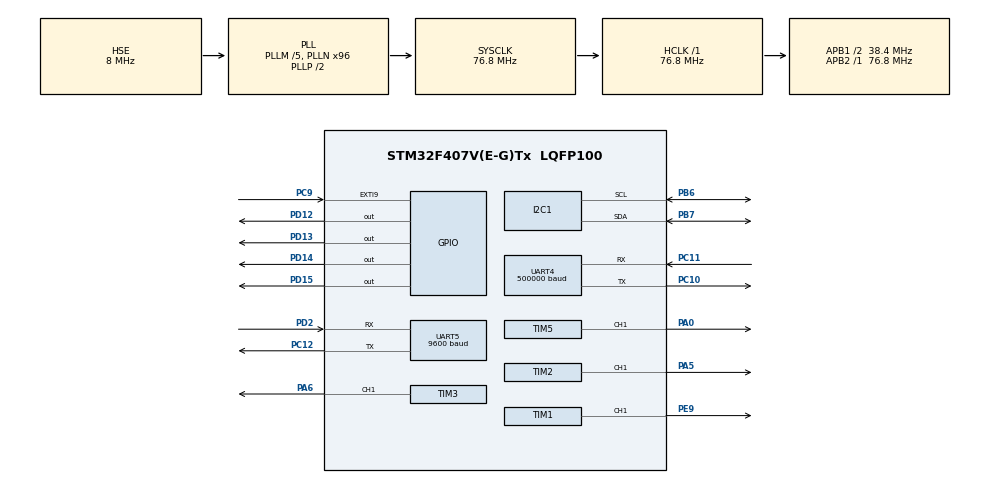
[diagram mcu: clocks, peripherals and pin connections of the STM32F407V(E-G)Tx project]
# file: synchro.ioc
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Dma.I2C1_RX.0.Direction=DMA_PERIPH_TO_MEMORY
Dma.I2C1_RX.0.FIFOMode=DMA_FIFOMODE_DISABLE
Dma.I2C1_RX.0.Instance=DMA1_Stream5
Dma.I2C1_RX.0.MemDataAlignment=DMA_MDATAALIGN_BYTE
Dma.I2C1_RX.0.MemInc=DMA_MINC_ENABLE
Dma.I2C1_RX.0.Mode=DMA_NORMAL
Dma.I2C1_RX.0.PeriphDataAlignment=DMA_PDATAALIGN_BYTE
Dma.I2C1_RX.0.PeriphInc=DMA_PINC_DISABLE
Dma.I2C1_RX.0.Priority=DMA_PRIORITY_VERY_HIGH
Dma.Request0=I2C1_RX
Dma.Request1=UART4_TX
Dma.Request2=UART5_TX
Dma.Request3=UART4_RX
Dma.UART4_RX.3.Direction=DMA_PERIPH_TO_MEMORY
Dma.UART4_RX.3.FIFOMode=DMA_FIFOMODE_DISABLE
Dma.UART4_RX.3.Instance=DMA1_Stream2
Dma.UART4_RX.3.MemDataAlignment=DMA_MDATAALIGN_BYTE
Dma.UART4_RX.3.MemInc=DMA_MINC_ENABLE
Dma.UART4_RX.3.Mode=DMA_NORMAL
Dma.UART4_RX.3.PeriphDataAlignment=DMA_PDATAALIGN_BYTE
Dma.UART4_RX.3.PeriphInc=DMA_PINC_DISABLE
Dma.UART4_RX.3.Priority=DMA_PRIORITY_LOW
Dma.UART4_TX.1.Direction=DMA_MEMORY_TO_PERIPH
Dma.UART4_TX.1.FIFOMode=DMA_FIFOMODE_DISABLE
Dma.UART4_TX.1.Instance=DMA1_Stream4
Dma.UART4_TX.1.MemDataAlignment=DMA_MDATAALIGN_BYTE
Dma.UART4_TX.1.MemInc=DMA_MINC_ENABLE
Dma.UART4_TX.1.Mode=DMA_NORMAL
Dma.UART4_TX.1.PeriphDataAlignment=DMA_PDATAALIGN_BYTE
Dma.UART4_TX.1.PeriphInc=DMA_PINC_DISABLE
Dma.UART4_TX.1.Priority=DMA_PRIORITY_LOW
Dma.UART5_TX.2.Direction=DMA_MEMORY_TO_PERIPH
Dma.UART5_TX.2.FIFOMode=DMA_FIFOMODE_DISABLE
Dma.UART5_TX.2.Instance=DMA1_Stream7
Dma.UART5_TX.2.MemDataAlignment=DMA_MDATAALIGN_BYTE
Dma.UART5_TX.2.MemInc=DMA_MINC_ENABLE
Dma.UART5_TX.2.Mode=DMA_NORMAL
Dma.UART5_TX.2.PeriphDataAlignment=DMA_PDATAALIGN_BYTE
Dma.UART5_TX.2.PeriphInc=DMA_PINC_DISABLE
Dma.UART5_TX.2.Priority=DMA_PRIORITY_LOW
I2C1.DutyCycle=I2C_DUTYCYCLE_16_9
I2C1.I2C_Mode=I2C_Fast
Mcu.Family=STM32F4
Mcu.Name=STM32F407V(E-G)Tx
Mcu.Package=LQFP100
NVIC.DMA1_Stream2_IRQn=true\:5\:0\:true\:false\:true\:false\:true
NVIC.DMA1_Stream4_IRQn=true\:5\:0\:true\:false\:true\:false\:true
NVIC.DMA1_Stream5_IRQn=true\:5\:0\:true\:false\:true\:false\:true
NVIC.DMA1_Stream7_IRQn=true\:5\:0\:true\:false\:true\:false\:true
NVIC.EXTI9_5_IRQn=true\:0\:0\:false\:false\:true\:true\:true
NVIC.I2C1_EV_IRQn=true\:0\:0\:true\:false\:true\:true\:true
NVIC.PriorityGroup=NVIC_PRIORITYGROUP_4
NVIC.TIM1_CC_IRQn=true\:4\:0\:true\:false\:true\:true\:true
NVIC.TIM2_IRQn=true\:4\:0\:true\:false\:true\:true\:true
NVIC.TIM3_IRQn=true\:4\:0\:true\:false\:true\:true\:true
NVIC.TIM5_IRQn=true\:0\:0\:true\:false\:true\:true\:true
NVIC.UART4_IRQn=true\:5\:0\:true\:false\:true\:true\:true
NVIC.UART5_IRQn=true\:5\:0\:true\:false\:true\:true\:true
PA0-WKUP.Signal=S_TIM5_CH1
PA5.Signal=S_TIM2_CH1_ETR
PA6.Signal=S_TIM3_CH1
PB6.Mode=I2C
PB6.Signal=I2C1_SCL
PB7.Mode=I2C
PB7.Signal=I2C1_SDA
PC10.Mode=Asynchronous
PC10.Signal=UART4_TX
PC11.Mode=Asynchronous
PC11.Signal=UART4_RX
PC12.Mode=Asynchronous
PC12.Signal=UART5_TX
PC9.Signal=GPXTI9
PD12.Signal=GPIO_Output
PD13.Signal=GPIO_Output
PD14.Signal=GPIO_Output
PD15.Signal=GPIO_Output
PD2.Mode=Asynchronous
PD2.Signal=UART5_RX
PE9.Signal=S_TIM1_CH1
PH0-OSC_IN.Mode=HSE-External-Oscillator
PH0-OSC_IN.Signal=RCC_OSC_IN
PH1-OSC_OUT.Mode=HSE-External-Oscillator
PH1-OSC_OUT.Signal=RCC_OSC_OUT
ProjectManager.HeapSize=0x200
ProjectManager.StackSize=0x400
ProjectManager.TargetToolchain=STM32CubeIDE
RCC.48MHZClocksFreq_Value=38400000
RCC.AHBFreq_Value=76800000
RCC.APB1CLKDivider=RCC_HCLK_DIV2
RCC.APB1Freq_Value=38400000
RCC.APB1TimFreq_Value=76800000
RCC.APB2Freq_Value=76800000
RCC.APB2TimFreq_Value=76800000
RCC.CortexFreq_Value=76800000
RCC.HCLKFreq_Value=76800000
RCC.HSE_VALUE=8000000
RCC.HSI_VALUE=16000000
RCC.LSE_VALUE=32768
RCC.PLLM=5
RCC.PLLN=96
RCC.PLLSourceVirtual=RCC_PLLSOURCE_HSE
RCC.RCC_MCO1Source=RCC_MCO1SOURCE_LSE
RCC.RCC_MCO2Source=RCC_MCO2SOURCE_HSE
RCC.RCC_RTC_Clock_Source=RCC_RTCCLKSOURCE_HSE_DIV25
RCC.RCC_RTC_Clock_SourceVirtual=RCC_RTCCLKSOURCE_LSE
RCC.RCC_RTC_Clock_Source_FROM_HSE=RCC_RTCCLKSOURCE_HSE_DIV25
RCC.SYSCLKFreq_VALUE=76800000
RCC.SYSCLKSource=RCC_SYSCLKSOURCE_PLLCLK
RCC.VCOOutputFreq_Value=153600000
RTC.AsynchPrediv=32-1
RTC.SynchPrediv=10000-1
SH.S_TIM1_CH1.0=TIM1_CH1,Output Compare1 CH1
SH.S_TIM2_CH1_ETR.0=TIM2_CH1,PWM Generation1 CH1
SH.S_TIM3_CH1.0=TIM3_CH1,Output Compare1 CH1
SH.S_TIM5_CH1.0=TIM5_CH1,Output Compare1 CH1
TIM1.AutoReloadPreload=TIM_AUTORELOAD_PRELOAD_DISABLE
TIM1.Channel-Output\ Compare1\ CH1=TIM_CHANNEL_1
TIM1.ClockDivision=TIM_CLOCKDIVISION_DIV1
TIM1.OCMode_1=TIM_OCMODE_TOGGLE
TIM1.Period=5000-1
TIM1.Prescaler=7680-1
TIM1.RepetitionCounter=0
TIM1.TIM_MasterOutputTrigger=TIM_TRGO_RESET
TIM1.TIM_MasterSlaveMode=TIM_MASTERSLAVEMODE_DISABLE
TIM2.AutoReloadPreload=TIM_AUTORELOAD_PRELOAD_ENABLE
TIM2.Channel-PWM\ Generation1\ CH1=TIM_CHANNEL_1
TIM2.CounterMode=TIM_COUNTERMODE_DOWN
TIM2.OCMode_PWM-PWM\ Generation1\ CH1=TIM_OCMODE_PWM1
TIM2.OCPolarity_1=TIM_OCPOLARITY_LOW
TIM2.Period=2559794-1
TIM2.Prescaler=1-1
TIM2.Pulse-PWM\ Generation1\ CH1=1280000
TIM2.TIM_MasterOutputTrigger=TIM_TRGO_RESET
TIM2.TIM_MasterSlaveMode=TIM_MASTERSLAVEMODE_DISABLE
TIM3.AutoReloadPreload=TIM_AUTORELOAD_PRELOAD_ENABLE
TIM3.Channel-Output\ Compare1\ CH1=TIM_CHANNEL_1
TIM3.ClockDivision=TIM_CLOCKDIVISION_DIV1
TIM3.OC1Preload=ENABLE
TIM3.OCMode_1=TIM_OCMODE_TOGGLE
TIM3.Period=1
TIM3.Prescaler=0
TIM3.TIM_MasterOutputTrigger=TIM_TRGO_RESET
TIM5.AutoReloadPreload=TIM_AUTORELOAD_PRELOAD_ENABLE
TIM5.Channel-Output\ Compare1\ CH1=TIM_CHANNEL_1
TIM5.CounterMode=TIM_COUNTERMODE_UP
TIM5.OC1Preload=ENABLE
TIM5.OCMode_1=TIM_OCMODE_TOGGLE
TIM5.Period=25600000 - 1
TIM5.Prescaler=3-1
TIM5.TIM_MasterOutputTrigger=TIM_TRGO_RESET
TIM8.Channel-Output\ Compare1\ No\ Output=TIM_CHANNEL_1
UART4.BaudRate=500000
UART4.VirtualMode=Asynchronous
UART5.BaudRate=9600
UART5.VirtualMode=Asynchronous
VP_RTC_VS_RTC_Activate.Mode=RTC_Enabled
VP_TIM1_VS_ClockSourceINT.Mode=Internal
VP_TIM2_VS_ClockSourceINT.Mode=Internal
VP_TIM3_VS_ClockSourceINT.Mode=Internal
VP_TIM5_VS_ClockSourceINT.Mode=Internal
VP_TIM8_VS_ClockSourceINT.Mode=Internal
VP_TIM8_VS_no_output1.Mode=Output Compare1 No Output
board=custom

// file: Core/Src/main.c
/* USER CODE BEGIN Header */
/**
  ******************************************************************************
  * @file           : main.c
  * @brief          : Main program body
  ******************************************************************************
  * @attention
  *
  * <h2><center>&copy; Copyright (c) 2019 STMicroelectronics.
  * All rights reserved.</center></h2>
  *
  * This software component is licensed by ST under BSD 3-Clause license,
  * the "License"; You may not use this file except in compliance with the
  * License. You may obtain a copy of the License at:
  *                        opensource.org/licenses/BSD-3-Clause
  *
  ******************************************************************************
  */
/* USER CODE END Header */

#include "main.h"

/* USER CODE BEGIN PD */
#define N_IMU_CHARS 58
#define N_CAMERAS_CHARS 18
#define N_LIDAR_CHARS 18
#define N_CHARS (N_IMU_CHARS + N_CAMERAS_CHARS + N_LIDAR_CHARS)

#define N_CHARS_TO_LIDAR 66
#define N_BYTES 16

#define ALIGN_SUBS_INTERVAL 2560000 // = 1/6 * htim2.Init.Period

#define INPUT_PC_DATA_LENGTH 5
#define ALIGN_FRAMES_CMD 34
#define START_TRIGGER_CMD 56
#define STOP_TRIGGER_CMD 57
/* USER CODE END PD */

I2C_HandleTypeDef hi2c1;
DMA_HandleTypeDef hdma_i2c1_rx;

RTC_HandleTypeDef hrtc;

TIM_HandleTypeDef htim1;
TIM_HandleTypeDef htim2;
TIM_HandleTypeDef htim3;
TIM_HandleTypeDef htim5;
TIM_HandleTypeDef htim8;

UART_HandleTypeDef huart4;
UART_HandleTypeDef huart5;
DMA_HandleTypeDef hdma_uart4_tx;
DMA_HandleTypeDef hdma_uart4_rx;
DMA_HandleTypeDef hdma_uart5_tx;

/* USER CODE BEGIN PV */
uint8_t str[N_CHARS];

uint16_t count = 0;
uint8_t flag_read_imu_values = 0;
uint8_t flag_transmit_to_lidar = 0;

uint8_t flag_lidar_ts_ready = 0;
uint8_t flag_cameras_ts_ready = 0;
uint8_t buf_flag_cameras_ts_ready = 0;
uint8_t buf_flag_lidar_ts_ready = 0;

uint8_t flag_alignment_received = 0;

RTC_TimeTypeDef sTime_imu = {0}, sTime_cam = {0}, sTime_lidar = {0};
RTC_DateTypeDef sDate_imu = {0}, sDate_cam = {0}, sDate_lidar = {0};

uint8_t dat[N_BYTES];
uint8_t dat_buf[N_BYTES];
uint8_t lidar_str[N_CHARS_TO_LIDAR];

uint8_t soft_rtc_h = 0;
uint8_t soft_rtc_m = 0;
uint8_t soft_rtc_s = 0;
uint32_t soft_rtc_subs = 0;

uint8_t soft_rtc_imu_h = 0;
uint8_t soft_rtc_imu_m = 0;
uint8_t soft_rtc_imu_s = 0;
uint32_t soft_rtc_imu_subs = 0;

uint8_t soft_rtc_cameras_h = 0;
uint8_t soft_rtc_cameras_m = 0;
uint8_t soft_rtc_cameras_s = 0;
uint32_t soft_rtc_cameras_subs = 0;

uint8_t soft_rtc_lidar_h = 0;
uint8_t soft_rtc_lidar_m = 0;
uint8_t soft_rtc_lidar_s = 0;
uint32_t soft_rtc_lidar_subs = 0;

int32_t alignment_subs_signed = 0;
uint32_t alignment_subs_low = 0;
uint32_t alignment_subs_high = 0;
uint32_t alignment_subs_received = 0;
uint32_t tim2_counter_per = 0;

uint8_t input_buf[INPUT_PC_DATA_LENGTH];
uint8_t some_cmd;
uint32_t some_data;
uint8_t flag_data_received_from_pc;

typedef struct {
	uint8_t cmd;
	uint32_t data;
} received_tuple;

/* USER CODE END PV */

void SystemClock_Config(void);
static void MX_GPIO_Init(void);
static void MX_TIM1_Init(void);
static void MX_TIM3_Init(void);
static void MX_TIM2_Init(void);
static void MX_DMA_Init(void);
static void MX_I2C1_Init(void);
static void MX_RTC_Init(void);
static void MX_UART4_Init(void);
static void MX_UART5_Init(void);
static void MX_TIM8_Init(void);
static void MX_TIM5_Init(void);

/* USER CODE BEGIN 0 */
int __io_putchar(int ch) {
  uint8_t c[1];
  c[0] = ch & 0x00FF;
  HAL_UART_Transmit(&huart4, &*c, 1, 10);
  return ch;
}

int _write(int file,char *ptr, int len) {
  int DataIdx;
  for(DataIdx= 0; DataIdx< len; DataIdx++) {
    __io_putchar(*ptr++);
  }
  return len;
}

uint32_t read_TIM5() {
  return TIM5->CNT;
}

void HAL_GPIO_EXTI_Callback(uint16_t GPIO_Pin) {
	//HAL_GPIO_WritePin(GPIOC, GPIO_PIN_8, GPIO_PIN_SET);
	if(GPIO_Pin == GPIO_PIN_9)
  {
  	flag_read_imu_values = 1;
  	soft_rtc_imu_subs = read_TIM5();
		soft_rtc_imu_s = soft_rtc_s;
		soft_rtc_imu_m = soft_rtc_m;
		//HAL_RTC_GetTime(&hrtc, &sTime_imu, RTC_FORMAT_BIN);
		//HAL_RTC_GetDate(&hrtc, &sDate_imu, RTC_FORMAT_BIN);
		//HAL_GPIO_WritePin(GPIOC, GPIO_PIN_8, GPIO_PIN_RESET);
		HAL_GPIO_TogglePin(GPIOD, GPIO_PIN_12);
  }
}

void setup_mpu(void) {
	uint8_t dat[] = {5, 16, 1, 1};
	uint8_t adds[] = {107, 55, 26, 56};
	uint8_t n_of_bytes = sizeof(dat) / sizeof(dat[0]);
	for (uint8_t idx=0; idx<n_of_bytes; idx++) {
		HAL_I2C_Mem_Write(&hi2c1, 0x68<<1, adds[idx], 1, &dat[idx], 1, 1000);
	}
}

void make_message(void) {
	sprintf(str,
		"i0"																				//2
		"%02x %02x %04x %04x "											//16
		"%04x %04x %04x %04x %04x %04x %04x "			 	//35
		"%04x"																			//4
		"\n", 																			//1
																								//=58
		(uint8_t)soft_rtc_imu_m,
		(uint8_t)soft_rtc_imu_s,
		(uint16_t)(soft_rtc_imu_subs>>16),
		(uint16_t)(soft_rtc_imu_subs),
		//(uint8_t)(sTime_imu.Minutes),
		//(uint8_t)(sTime_imu.Seconds),
		//(uint16_t)(sTime_imu.SubSeconds),

		(uint16_t)(dat_buf[0]<<8 | dat_buf[1]),
		(uint16_t)(dat_buf[2]<<8 | dat_buf[3]),
		(uint16_t)(dat_buf[4]<<8 | dat_buf[5]),
		(uint16_t)(dat_buf[6]<<8 | dat_buf[7]),
		(uint16_t)(dat_buf[8]<<8 | dat_buf[9]),
		(uint16_t)(dat_buf[10]<<8 | dat_buf[11]),
		(uint16_t)(dat_buf[12]<<8 | dat_buf[13]),

		count);
	if (buf_flag_cameras_ts_ready == 1) {
		sprintf(str + N_IMU_CHARS,
				"c0"																				//2
				"%02x %02x %04x %04x"	 										//15
				"\n", 																			//1
																										//=18
				(uint8_t)soft_rtc_cameras_m,
				(uint8_t)soft_rtc_cameras_s,
				(uint16_t)(soft_rtc_cameras_subs>>16),
				(uint16_t)(soft_rtc_cameras_subs)
				//(uint8_t)(sTime_cam.Minutes),
				//(uint8_t)(sTime_cam.Seconds),
				//(uint16_t)(sTime_cam.SubSeconds)
			);
	}
	if (buf_flag_lidar_ts_ready == 1) {
		sprintf(str + N_IMU_CHARS + buf_flag_cameras_ts_ready * N_CAMERAS_CHARS,
				"l0"																				//2
				"%02x %02x %04x %04x"											//15
				"\n", 																			//1
																										//=18
				(uint8_t)soft_rtc_lidar_m,
				(uint8_t)soft_rtc_lidar_s,
				(uint16_t)(soft_rtc_lidar_subs>>16),
				(uint16_t)(soft_rtc_lidar_subs)
				//(uint8_t)(sTime_lidar.Minutes),
				//(uint8_t)(sTime_lidar.Seconds),
				//(uint16_t)(sTime_lidar.SubSeconds)
			);
	}
}

uint8_t checksum(char * s, uint8_t start, uint8_t end) {
    uint8_t c = 0;
    for (uint8_t i=start; i<end; i++) {
      c = c ^ s[i];
    }
    return c;
}

void make_lidar_string(void) {
	sprintf(lidar_str,
		"$GPRMC"																							//6
		",%02d%02d%02d"																				//7
		",A,5542.2389,N,03741.6063,E,0.06,25.82,200906,,,*"		//49
		"00"																									//2
		"\r\n", 																							//2
																													//=66
		//".%04d"																								//5

		(uint8_t)soft_rtc_lidar_h,
		(uint8_t)soft_rtc_lidar_m,
		(uint8_t)soft_rtc_lidar_s
		//(uint32_t)soft_rtc_lidar_subs
		//(uint8_t)(sTime_lidar.Hours),
		//(uint8_t)(sTime_lidar.Minutes),
		//(uint8_t)(sTime_lidar.Seconds)
		//(uint16_t)(sTime_lidar.SubSeconds)
	);

	uint8_t start = 1, end = N_CHARS_TO_LIDAR-5;
	uint8_t c = checksum(lidar_str, start, end);
	//uint8_t c = checksum("GPGSA,A,3,10,07,05,02,29,04,08,13,,,,,1.72,1.03,1.38",0,52);
	sprintf(&lidar_str[end+1], "%02X", c);

}

void delay(uint16_t n) {
	for (uint16_t i=0; i<n; i++) {
		;
	}
}

void cp() {
	for (uint8_t i=0; i<N_BYTES; i++) {
		dat_buf[i] = dat[i];
	}
}

void HAL_TIM_OC_DelayElapsedCallback(TIM_HandleTypeDef *htim) {
	if (htim->Instance == htim5.Instance) {
		soft_rtc_s ++;
		if (soft_rtc_s == 60) {
			soft_rtc_s = 0;
			soft_rtc_m ++;
			if (soft_rtc_m == 60) {
				soft_rtc_m = 0;
				soft_rtc_h ++;
				if (soft_rtc_h == 24) {
					soft_rtc_h = 0;
				}
			}
		}
	}
	else if (htim->Instance == htim1.Instance)
	{
		if(HAL_GPIO_ReadPin(GPIOE, GPIO_PIN_9)==GPIO_PIN_SET) { // if timer output is HIGH

			soft_rtc_lidar_subs = read_TIM5();
			soft_rtc_lidar_s = soft_rtc_s;
			soft_rtc_lidar_m = soft_rtc_m;
			//HAL_RTC_GetTime(&hrtc, &sTime_lidar, RTC_FORMAT_BIN);
			//HAL_RTC_GetDate(&hrtc, &sDate_lidar, RTC_FORMAT_BIN);
			flag_lidar_ts_ready = 1;
			flag_transmit_to_lidar = 1;
			//HAL_GPIO_WritePin(GPIOD, GPIO_PIN_14, GPIO_PIN_SET);
			//HAL_GPIO_WritePin(GPIOD, GPIO_PIN_14, GPIO_PIN_RESET);
		}
	}
	else if (htim->Instance == htim2.Instance)
	{
		if(HAL_GPIO_ReadPin(GPIOA, GPIO_PIN_5)==GPIO_PIN_RESET) { // if timer output is HIGH // is not needed

			soft_rtc_cameras_subs = read_TIM5();
			soft_rtc_cameras_s = soft_rtc_s;
			soft_rtc_cameras_m = soft_rtc_m;

			//HAL_RTC_GetTime(&hrtc, &sTime_cam, RTC_FORMAT_BIN);
			//HAL_RTC_GetDate(&hrtc, &sDate_cam, RTC_FORMAT_BIN);
			flag_cameras_ts_ready = 1;
			//HAL_GPIO_WritePin(GPIOD, GPIO_PIN_13, GPIO_PIN_SET);
			//HAL_GPIO_WritePin(GPIOD, GPIO_PIN_13, GPIO_PIN_RESET);
		}
	}
}

void HAL_UART_RxCpltCallback(UART_HandleTypeDef *huart) {
    if (huart->Instance == UART4) {
    	//HAL_GPIO_WritePin(GPIOD, GPIO_PIN_13, SET);
    	//flag_alignment_received = 1;
    	flag_data_received_from_pc = 1;
    }
}

//void receive_alignment(void) {
//	HAL_UART_Receive_DMA(&huart4, &alignment_subs_received, 4);
//}
void receive_from_pc(void) {
	HAL_UART_Receive_DMA(&huart4, input_buf, INPUT_PC_DATA_LENGTH);
}

received_tuple parse_data(void) {
	received_tuple received;
	received.cmd = input_buf[0];
	received.data = (uint32_t)(input_buf[1] | input_buf[2] << 8 | input_buf[3] << 16 | input_buf[4] << 24);
	return received;
}

/*void align_timer(void) {
	alignment_subs_signed -= (int32_t)alignment_subs_received; // must not overfill uint32_t
	while (alignment_subs_signed < (int32_t)alignment_subs_low) {
		alignment_subs_signed += ALIGN_SUBS_INTERVAL;
	}
	TIM2->CCR1 = (uint32_t)alignment_subs_signed;
}*/
void align_timer(void) {
	alignment_subs_signed -= (int32_t)alignment_subs_received; // must not overfill uint32_t
	while (alignment_subs_signed < 0) {
		alignment_subs_signed += (htim2.Init.Period + 1);
	}
	TIM2->CCR1 = (uint32_t)alignment_subs_signed;
}
/* USER CODE END 0 */

int main(void)
{

  /* MCU Configuration--------------------------------------------------------*/

  /* Reset of all peripherals, Initializes the Flash interface and the Systick. */
  HAL_Init();

  /* Configure the system clock */
  SystemClock_Config();

  /* Initialize all configured peripherals */
  MX_GPIO_Init();
  MX_TIM1_Init();
  MX_TIM3_Init();
  MX_TIM2_Init();
  MX_DMA_Init();
  MX_I2C1_Init();
  MX_RTC_Init();
  MX_UART4_Init();
  MX_UART5_Init();
  MX_TIM8_Init();
  MX_TIM5_Init();
  /* USER CODE BEGIN 2 */

  HAL_NVIC_DisableIRQ(EXTI9_5_IRQn);
  setup_mpu();
  HAL_NVIC_EnableIRQ(EXTI9_5_IRQn);

	HAL_TIM_OC_Start_IT(&htim5, TIM_CHANNEL_1);
	delay(10);
	HAL_TIM_OC_Start(&htim3, TIM_CHANNEL_1);
	delay(10);
	//HAL_TIM_OC_Start_IT(&htim2, TIM_CHANNEL_1);
	delay(10);
	HAL_TIM_OC_Start_IT(&htim1, TIM_CHANNEL_1);

	//Update_event = TIM_CLK/((PSC + 1)*(ARR + 1)*(RCR + 1))
  //TIM_CLK = timer clock input
  //PSC = 16-bit prescaler register
  //ARR = 16/32-bit Autoreload register
  //RCR = 16-bit repetition counter

  //76.8 / ((0 + 1) * (1 + 1)) / 2 = 19.2 MHz TIM3 IMU
  //76.8 * 1000000 / ((7680 - 1 + 1) * (1000 - 1 + 1)) / 2 = 5 Hz TIM2 CAMERAS
	//76.8 * 1000000 / ((7680 - 1 + 1) * (5000 - 1 + 1)) / 2 = 1 Hz TIM1 LIDAR
	//76.8 * 1000000 / ((3 - 1 + 1) * (25600000 - 1 + 1)) = 1 Hz TIM5

/*----------|  |------------
|                          |
|                          |
|                          |
|                          |
|::                      ::|
|::                      ::|
|::                      ::|
|::                      ::|
|::                      ::|
|::                      ::|
|::                      ::|
|::      [D13 ORNG]      ::|
|:: [D12 GRN]  [D14 RED] ::|
|::      [D15 BLUE]      ::|
|::                      ::|
|::                      ::|
|::             [D5 USB] ::|
--------------------------*/
	// htim2.Init.Period = 2559792-1;//2559200-1 - wide camera param
	//receive_alignment();
	receive_from_pc();
  /* USER CODE END 2 */

  /* Infinite loop */
  /* USER CODE BEGIN WHILE */
  while (1)
  {
  	HAL_GPIO_WritePin(GPIOD, GPIO_PIN_13, HAL_GPIO_ReadPin(GPIOA, GPIO_PIN_5)); // forward timer output signal to led pin
  	HAL_GPIO_WritePin(GPIOD, GPIO_PIN_14, HAL_GPIO_ReadPin(GPIOE, GPIO_PIN_9)); // forward timer output signal to led pin
  	//HAL_GPIO_WritePin(GPIOD, GPIO_PIN_15, HAL_GPIO_ReadPin(GPIOA, GPIO_PIN_0)); // forward timer output signal to led pin
  	if (flag_read_imu_values == 1) {
			HAL_NVIC_DisableIRQ(EXTI9_5_IRQn);
			flag_read_imu_values = 0;
			//HAL_GPIO_WritePin(GPIOD, GPIO_PIN_14, GPIO_PIN_SET);
			count++;
			cp();
			HAL_I2C_Mem_Read_DMA(&hi2c1, 0x68<<1, 59, 1, dat, 14);
			buf_flag_cameras_ts_ready = flag_cameras_ts_ready;
			buf_flag_lidar_ts_ready = flag_lidar_ts_ready;

			//HAL_GPIO_WritePin(GPIOD, GPIO_PIN_15, GPIO_PIN_SET);
			uint8_t mes_length = N_IMU_CHARS + buf_flag_cameras_ts_ready * N_CAMERAS_CHARS + buf_flag_lidar_ts_ready * N_LIDAR_CHARS;
			make_message();
			HAL_UART_Transmit_DMA(&huart4, str, mes_length);//, 1000);	//HAL_UART_Transmit_DMA(&huart4, str, N_CHARS);
			//HAL_UART_Transmit_DMA(&huart4, &alignment_subs, 4);//, 1000);	//HAL_UART_Transmit_DMA(&huart4, str, N_CHARS);
			//HAL_GPIO_WritePin(GPIOD, GPIO_PIN_15, GPIO_PIN_RESET);

			delay(7000);
			//if(count & 1024) { HAL_GPIO_TogglePin(GPIOD, GPIO_PIN_15);}
			if(__HAL_GPIO_EXTI_GET_IT(GPIO_PIN_9) != RESET) {__HAL_GPIO_EXTI_CLEAR_IT(GPIO_PIN_9);}
			HAL_NVIC_EnableIRQ(EXTI9_5_IRQn);
			//HAL_GPIO_WritePin(GPIOD, GPIO_PIN_14, GPIO_PIN_RESET);

			if (buf_flag_cameras_ts_ready == 1) {
				flag_cameras_ts_ready = 0;
			}
			if (buf_flag_lidar_ts_ready == 1) {
				flag_lidar_ts_ready = 0;
			}
			/*if (flag_alignment_received == 1) {
				flag_alignment_received = 0;
				align_timer();
				receive_alignment();
				HAL_GPIO_TogglePin(GPIOD, GPIO_PIN_15);
			}*/
			if (flag_data_received_from_pc == 1) {
				received_tuple received = parse_data();
				if (received.cmd == START_TRIGGER_CMD) {
					HAL_TIM_OC_Start_IT(&htim2, TIM_CHANNEL_1);
				}
				else if (received.cmd == ALIGN_FRAMES_CMD) {
					alignment_subs_received = received.data;
					align_timer();
					HAL_GPIO_TogglePin(GPIOD, GPIO_PIN_15);
				}
				else if (received.cmd == STOP_TRIGGER_CMD) {
					HAL_TIM_OC_Stop_IT(&htim2, TIM_CHANNEL_1);
				}

				flag_data_received_from_pc = 0;
				receive_from_pc();
			}
			//HAL_GPIO_WritePin(GPIOD, GPIO_PIN_15, __HAL_UART_GET_FLAG(&huart4, UART_FLAG_RXNE));
		}
  	if (flag_transmit_to_lidar==1) {
  		flag_transmit_to_lidar = 0;
  		make_lidar_string();
  		HAL_UART_Transmit_DMA(&huart5, lidar_str, N_CHARS_TO_LIDAR);//, 1000);	//HAL_UART_Transmit_DMA(&huart5, str, N_CHARS);
  	}
    /* USER CODE END WHILE */

  }
}

void SystemClock_Config(void)
{
  RCC_OscInitTypeDef RCC_OscInitStruct = {0};
  RCC_ClkInitTypeDef RCC_ClkInitStruct = {0};
  RCC_PeriphCLKInitTypeDef PeriphClkInitStruct = {0};

  /** Configure the main internal regulator output voltage
  */
  __HAL_RCC_PWR_CLK_ENABLE();
  __HAL_PWR_VOLTAGESCALING_CONFIG(PWR_REGULATOR_VOLTAGE_SCALE1);
  /** Initializes the CPU, AHB and APB busses clocks
  */
  RCC_OscInitStruct.OscillatorType = RCC_OSCILLATORTYPE_HSE|RCC_OSCILLATORTYPE_LSE;
  RCC_OscInitStruct.HSEState = RCC_HSE_ON;
  RCC_OscInitStruct.LSEState = RCC_LSE_OFF;
  RCC_OscInitStruct.PLL.PLLState = RCC_PLL_ON;
  RCC_OscInitStruct.PLL.PLLSource = RCC_PLLSOURCE_HSE;
  RCC_OscInitStruct.PLL.PLLM = 5;
  RCC_OscInitStruct.PLL.PLLN = 96;
  RCC_OscInitStruct.PLL.PLLP = RCC_PLLP_DIV2;
  RCC_OscInitStruct.PLL.PLLQ = 4;
  if (HAL_RCC_OscConfig(&RCC_OscInitStruct) != HAL_OK)
  {
    Error_Handler();
  }
  /** Initializes the CPU, AHB and APB busses clocks
  */
  RCC_ClkInitStruct.ClockType = RCC_CLOCKTYPE_HCLK|RCC_CLOCKTYPE_SYSCLK
                              |RCC_CLOCKTYPE_PCLK1|RCC_CLOCKTYPE_PCLK2;
  RCC_ClkInitStruct.SYSCLKSource = RCC_SYSCLKSOURCE_PLLCLK;
  RCC_ClkInitStruct.AHBCLKDivider = RCC_SYSCLK_DIV1;
  RCC_ClkInitStruct.APB1CLKDivider = RCC_HCLK_DIV2;
  RCC_ClkInitStruct.APB2CLKDivider = RCC_HCLK_DIV1;

  if (HAL_RCC_ClockConfig(&RCC_ClkInitStruct, FLASH_LATENCY_2) != HAL_OK)
  {
    Error_Handler();
  }
  PeriphClkInitStruct.PeriphClockSelection = RCC_PERIPHCLK_RTC;
  PeriphClkInitStruct.RTCClockSelection = RCC_RTCCLKSOURCE_HSE_DIV25;
  if (HAL_RCCEx_PeriphCLKConfig(&PeriphClkInitStruct) != HAL_OK)
  {
    Error_Handler();
  }
}

static void MX_I2C1_Init(void)
{

  hi2c1.Instance = I2C1;
  hi2c1.Init.ClockSpeed = 400000;
  hi2c1.Init.DutyCycle = I2C_DUTYCYCLE_16_9;
  hi2c1.Init.OwnAddress1 = 0;
  hi2c1.Init.AddressingMode = I2C_ADDRESSINGMODE_7BIT;
  hi2c1.Init.DualAddressMode = I2C_DUALADDRESS_DISABLE;
  hi2c1.Init.OwnAddress2 = 0;
  hi2c1.Init.GeneralCallMode = I2C_GENERALCALL_DISABLE;
  hi2c1.Init.NoStretchMode = I2C_NOSTRETCH_DISABLE;
  if (HAL_I2C_Init(&hi2c1) != HAL_OK)
  {
    Error_Handler();
  }

}

static void MX_RTC_Init(void)
{

  /** Initialize RTC Only
  */
  hrtc.Instance = RTC;
  hrtc.Init.HourFormat = RTC_HOURFORMAT_24;
  hrtc.Init.AsynchPrediv = 32-1;
  hrtc.Init.SynchPrediv = 10000-1;
  hrtc.Init.OutPut = RTC_OUTPUT_DISABLE;
  hrtc.Init.OutPutPolarity = RTC_OUTPUT_POLARITY_HIGH;
  hrtc.Init.OutPutType = RTC_OUTPUT_TYPE_OPENDRAIN;
  if (HAL_RTC_Init(&hrtc) != HAL_OK)
  {
    Error_Handler();
  }

}

static void MX_TIM1_Init(void)
{

  TIM_ClockConfigTypeDef sClockSourceConfig = {0};
  TIM_MasterConfigTypeDef sMasterConfig = {0};
  TIM_OC_InitTypeDef sConfigOC = {0};
  TIM_BreakDeadTimeConfigTypeDef sBreakDeadTimeConfig = {0};

  htim1.Instance = TIM1;
  htim1.Init.Prescaler = 7680-1;
  htim1.Init.CounterMode = TIM_COUNTERMODE_UP;
  htim1.Init.Period = 5000-1;
  htim1.Init.ClockDivision = TIM_CLOCKDIVISION_DIV1;
  htim1.Init.RepetitionCounter = 0;
  htim1.Init.AutoReloadPreload = TIM_AUTORELOAD_PRELOAD_DISABLE;
  if (HAL_TIM_Base_Init(&htim1) != HAL_OK)
  {
    Error_Handler();
  }
  sClockSourceConfig.ClockSource = TIM_CLOCKSOURCE_INTERNAL;
  if (HAL_TIM_ConfigClockSource(&htim1, &sClockSourceConfig) != HAL_OK)
  {
    Error_Handler();
  }
  if (HAL_TIM_OC_Init(&htim1) != HAL_OK)
  {
    Error_Handler();
  }
  sMasterConfig.MasterOutputTrigger = TIM_TRGO_RESET;
  sMasterConfig.MasterSlaveMode = TIM_MASTERSLAVEMODE_DISABLE;
  if (HAL_TIMEx_MasterConfigSynchronization(&htim1, &sMasterConfig) != HAL_OK)
  {
    Error_Handler();
  }
  sConfigOC.OCMode = TIM_OCMODE_TOGGLE;
  sConfigOC.Pulse = 0;
  sConfigOC.OCPolarity = TIM_OCPOLARITY_HIGH;
  sConfigOC.OCNPolarity = TIM_OCNPOLARITY_HIGH;
  sConfigOC.OCFastMode = TIM_OCFAST_DISABLE;
  sConfigOC.OCIdleState = TIM_OCIDLESTATE_RESET;
  sConfigOC.OCNIdleState = TIM_OCNIDLESTATE_RESET;
  if (HAL_TIM_OC_ConfigChannel(&htim1, &sConfigOC, TIM_CHANNEL_1) != HAL_OK)
  {
    Error_Handler();
  }
  sBreakDeadTimeConfig.OffStateRunMode = TIM_OSSR_DISABLE;
  sBreakDeadTimeConfig.OffStateIDLEMode = TIM_OSSI_DISABLE;
  sBreakDeadTimeConfig.LockLevel = TIM_LOCKLEVEL_OFF;
  sBreakDeadTimeConfig.DeadTime = 0;
  sBreakDeadTimeConfig.BreakState = TIM_BREAK_DISABLE;
  sBreakDeadTimeConfig.BreakPolarity = TIM_BREAKPOLARITY_HIGH;
  sBreakDeadTimeConfig.AutomaticOutput = TIM_AUTOMATICOUTPUT_DISABLE;
  if (HAL_TIMEx_ConfigBreakDeadTime(&htim1, &sBreakDeadTimeConfig) != HAL_OK)
  {
    Error_Handler();
  }
  HAL_TIM_MspPostInit(&htim1);

}

static void MX_TIM2_Init(void)
{

  TIM_ClockConfigTypeDef sClockSourceConfig = {0};
  TIM_MasterConfigTypeDef sMasterConfig = {0};
  TIM_OC_InitTypeDef sConfigOC = {0};

  htim2.Instance = TIM2;
  htim2.Init.Prescaler = 1-1;
  htim2.Init.CounterMode = TIM_COUNTERMODE_DOWN;
  htim2.Init.Period = 2559794-1;
  htim2.Init.ClockDivision = TIM_CLOCKDIVISION_DIV1;
  htim2.Init.AutoReloadPreload = TIM_AUTORELOAD_PRELOAD_ENABLE;
  if (HAL_TIM_Base_Init(&htim2) != HAL_OK)
  {
    Error_Handler();
  }
  sClockSourceConfig.ClockSource = TIM_CLOCKSOURCE_INTERNAL;
  if (HAL_TIM_ConfigClockSource(&htim2, &sClockSourceConfig) != HAL_OK)
  {
    Error_Handler();
  }
  if (HAL_TIM_PWM_Init(&htim2) != HAL_OK)
  {
    Error_Handler();
  }
  sMasterConfig.MasterOutputTrigger = TIM_TRGO_RESET;
  sMasterConfig.MasterSlaveMode = TIM_MASTERSLAVEMODE_DISABLE;
  if (HAL_TIMEx_MasterConfigSynchronization(&htim2, &sMasterConfig) != HAL_OK)
  {
    Error_Handler();
  }
  sConfigOC.OCMode = TIM_OCMODE_PWM1;
  sConfigOC.Pulse = 1280000;
  sConfigOC.OCPolarity = TIM_OCPOLARITY_LOW;
  sConfigOC.OCFastMode = TIM_OCFAST_DISABLE;
  if (HAL_TIM_PWM_ConfigChannel(&htim2, &sConfigOC, TIM_CHANNEL_1) != HAL_OK)
  {
    Error_Handler();
  }
  /* USER CODE BEGIN TIM2_Init 2 */
  alignment_subs_low = sConfigOC.Pulse;
  alignment_subs_high = alignment_subs_low + ALIGN_SUBS_INTERVAL; //must be lower than htim2.Init.Period
  alignment_subs_signed = (int32_t)(sConfigOC.Pulse);
  tim2_counter_per = htim2.Init.Period;
  /* USER CODE END TIM2_Init 2 */
  HAL_TIM_MspPostInit(&htim2);

}

static void MX_TIM3_Init(void)
{

  TIM_ClockConfigTypeDef sClockSourceConfig = {0};
  TIM_MasterConfigTypeDef sMasterConfig = {0};
  TIM_OC_InitTypeDef sConfigOC = {0};

  htim3.Instance = TIM3;
  htim3.Init.Prescaler = 0;
  htim3.Init.CounterMode = TIM_COUNTERMODE_UP;
  htim3.Init.Period = 1;
  htim3.Init.ClockDivision = TIM_CLOCKDIVISION_DIV1;
  htim3.Init.AutoReloadPreload = TIM_AUTORELOAD_PRELOAD_ENABLE;
  if (HAL_TIM_Base_Init(&htim3) != HAL_OK)
  {
    Error_Handler();
  }
  sClockSourceConfig.ClockSource = TIM_CLOCKSOURCE_INTERNAL;
  if (HAL_TIM_ConfigClockSource(&htim3, &sClockSourceConfig) != HAL_OK)
  {
    Error_Handler();
  }
  if (HAL_TIM_OC_Init(&htim3) != HAL_OK)
  {
    Error_Handler();
  }
  sMasterConfig.MasterOutputTrigger = TIM_TRGO_RESET;
  sMasterConfig.MasterSlaveMode = TIM_MASTERSLAVEMODE_DISABLE;
  if (HAL_TIMEx_MasterConfigSynchronization(&htim3, &sMasterConfig) != HAL_OK)
  {
    Error_Handler();
  }
  sConfigOC.OCMode = TIM_OCMODE_TOGGLE;
  sConfigOC.Pulse = 0;
  sConfigOC.OCPolarity = TIM_OCPOLARITY_HIGH;
  sConfigOC.OCFastMode = TIM_OCFAST_DISABLE;
  if (HAL_TIM_OC_ConfigChannel(&htim3, &sConfigOC, TIM_CHANNEL_1) != HAL_OK)
  {
    Error_Handler();
  }
  __HAL_TIM_ENABLE_OCxPRELOAD(&htim3, TIM_CHANNEL_1);
  HAL_TIM_MspPostInit(&htim3);

}

static void MX_TIM5_Init(void)
{

  TIM_ClockConfigTypeDef sClockSourceConfig = {0};
  TIM_MasterConfigTypeDef sMasterConfig = {0};
  TIM_OC_InitTypeDef sConfigOC = {0};

  htim5.Instance = TIM5;
  htim5.Init.Prescaler = 3-1;
  htim5.Init.CounterMode = TIM_COUNTERMODE_UP;
  htim5.Init.Period = 25600000 - 1;
  htim5.Init.ClockDivision = TIM_CLOCKDIVISION_DIV1;
  htim5.Init.AutoReloadPreload = TIM_AUTORELOAD_PRELOAD_ENABLE;
  if (HAL_TIM_Base_Init(&htim5) != HAL_OK)
  {
    Error_Handler();
  }
  sClockSourceConfig.ClockSource = TIM_CLOCKSOURCE_INTERNAL;
  if (HAL_TIM_ConfigClockSource(&htim5, &sClockSourceConfig) != HAL_OK)
  {
    Error_Handler();
  }
  if (HAL_TIM_OC_Init(&htim5) != HAL_OK)
  {
    Error_Handler();
  }
  sMasterConfig.MasterOutputTrigger = TIM_TRGO_RESET;
  sMasterConfig.MasterSlaveMode = TIM_MASTERSLAVEMODE_DISABLE;
  if (HAL_TIMEx_MasterConfigSynchronization(&htim5, &sMasterConfig) != HAL_OK)
  {
    Error_Handler();
  }
  sConfigOC.OCMode = TIM_OCMODE_TOGGLE;
  sConfigOC.Pulse = 0;
  sConfigOC.OCPolarity = TIM_OCPOLARITY_HIGH;
  sConfigOC.OCFastMode = TIM_OCFAST_DISABLE;
  if (HAL_TIM_OC_ConfigChannel(&htim5, &sConfigOC, TIM_CHANNEL_1) != HAL_OK)
  {
    Error_Handler();
  }
  __HAL_TIM_ENABLE_OCxPRELOAD(&htim5, TIM_CHANNEL_1);
  HAL_TIM_MspPostInit(&htim5);

}

static void MX_TIM8_Init(void)
{

  TIM_ClockConfigTypeDef sClockSourceConfig = {0};
  TIM_MasterConfigTypeDef sMasterConfig = {0};
  TIM_OC_InitTypeDef sConfigOC = {0};
  TIM_BreakDeadTimeConfigTypeDef sBreakDeadTimeConfig = {0};

  htim8.Instance = TIM8;
  htim8.Init.Prescaler = 0;
  htim8.Init.CounterMode = TIM_COUNTERMODE_UP;
  htim8.Init.Period = 0;
  htim8.Init.ClockDivision = TIM_CLOCKDIVISION_DIV1;
  htim8.Init.RepetitionCounter = 0;
  htim8.Init.AutoReloadPreload = TIM_AUTORELOAD_PRELOAD_DISABLE;
  if (HAL_TIM_Base_Init(&htim8) != HAL_OK)
  {
    Error_Handler();
  }
  sClockSourceConfig.ClockSource = TIM_CLOCKSOURCE_INTERNAL;
  if (HAL_TIM_ConfigClockSource(&htim8, &sClockSourceConfig) != HAL_OK)
  {
    Error_Handler();
  }
  if (HAL_TIM_OC_Init(&htim8) != HAL_OK)
  {
    Error_Handler();
  }
  sMasterConfig.MasterOutputTrigger = TIM_TRGO_RESET;
  sMasterConfig.MasterSlaveMode = TIM_MASTERSLAVEMODE_DISABLE;
  if (HAL_TIMEx_MasterConfigSynchronization(&htim8, &sMasterConfig) != HAL_OK)
  {
    Error_Handler();
  }
  sConfigOC.OCMode = TIM_OCMODE_TIMING;
  sConfigOC.Pulse = 0;
  sConfigOC.OCPolarity = TIM_OCPOLARITY_HIGH;
  sConfigOC.OCNPolarity = TIM_OCNPOLARITY_HIGH;
  sConfigOC.OCFastMode = TIM_OCFAST_DISABLE;
  sConfigOC.OCIdleState = TIM_OCIDLESTATE_RESET;
  sConfigOC.OCNIdleState = TIM_OCNIDLESTATE_RESET;
  if (HAL_TIM_OC_ConfigChannel(&htim8, &sConfigOC, TIM_CHANNEL_1) != HAL_OK)
  {
    Error_Handler();
  }
  sBreakDeadTimeConfig.OffStateRunMode = TIM_OSSR_DISABLE;
  sBreakDeadTimeConfig.OffStateIDLEMode = TIM_OSSI_DISABLE;
  sBreakDeadTimeConfig.LockLevel = TIM_LOCKLEVEL_OFF;
  sBreakDeadTimeConfig.DeadTime = 0;
  sBreakDeadTimeConfig.BreakState = TIM_BREAK_DISABLE;
  sBreakDeadTimeConfig.BreakPolarity = TIM_BREAKPOLARITY_HIGH;
  sBreakDeadTimeConfig.AutomaticOutput = TIM_AUTOMATICOUTPUT_DISABLE;
  if (HAL_TIMEx_ConfigBreakDeadTime(&htim8, &sBreakDeadTimeConfig) != HAL_OK)
  {
    Error_Handler();
  }

}

static void MX_UART4_Init(void)
{

  huart4.Instance = UART4;
  huart4.Init.BaudRate = 500000;
  huart4.Init.WordLength = UART_WORDLENGTH_8B;
  huart4.Init.StopBits = UART_STOPBITS_1;
  huart4.Init.Parity = UART_PARITY_NONE;
  huart4.Init.Mode = UART_MODE_TX_RX;
  huart4.Init.HwFlowCtl = UART_HWCONTROL_NONE;
  huart4.Init.OverSampling = UART_OVERSAMPLING_16;
  if (HAL_UART_Init(&huart4) != HAL_OK)
  {
    Error_Handler();
  }

}

static void MX_UART5_Init(void)
{

  huart5.Instance = UART5;
  huart5.Init.BaudRate = 9600;
  huart5.Init.WordLength = UART_WORDLENGTH_8B;
  huart5.Init.StopBits = UART_STOPBITS_1;
  huart5.Init.Parity = UART_PARITY_NONE;
  huart5.Init.Mode = UART_MODE_TX_RX;
  huart5.Init.HwFlowCtl = UART_HWCONTROL_NONE;
  huart5.Init.OverSampling = UART_OVERSAMPLING_16;
  if (HAL_UART_Init(&huart5) != HAL_OK)
  {
    Error_Handler();
  }

}

static void MX_DMA_Init(void)
{

  /* DMA controller clock enable */
  __HAL_RCC_DMA1_CLK_ENABLE();

  /* DMA interrupt init */
  /* DMA1_Stream2_IRQn interrupt configuration */
  HAL_NVIC_SetPriority(DMA1_Stream2_IRQn, 5, 0);
  HAL_NVIC_EnableIRQ(DMA1_Stream2_IRQn);
  /* DMA1_Stream4_IRQn interrupt configuration */
  HAL_NVIC_SetPriority(DMA1_Stream4_IRQn, 5, 0);
  HAL_NVIC_EnableIRQ(DMA1_Stream4_IRQn);
  /* DMA1_Stream5_IRQn interrupt configuration */
  HAL_NVIC_SetPriority(DMA1_Stream5_IRQn, 5, 0);
  HAL_NVIC_EnableIRQ(DMA1_Stream5_IRQn);
  /* DMA1_Stream7_IRQn interrupt configuration */
  HAL_NVIC_SetPriority(DMA1_Stream7_IRQn, 5, 0);
  HAL_NVIC_EnableIRQ(DMA1_Stream7_IRQn);

}

static void MX_GPIO_Init(void)
{
  GPIO_InitTypeDef GPIO_InitStruct = {0};

  /* GPIO Ports Clock Enable */
  __HAL_RCC_GPIOH_CLK_ENABLE();
  __HAL_RCC_GPIOA_CLK_ENABLE();
  __HAL_RCC_GPIOE_CLK_ENABLE();
  __HAL_RCC_GPIOD_CLK_ENABLE();
  __HAL_RCC_GPIOC_CLK_ENABLE();
  __HAL_RCC_GPIOB_CLK_ENABLE();

  /*Configure GPIO pin Output Level */
  HAL_GPIO_WritePin(GPIOD, GPIO_PIN_12|GPIO_PIN_13|GPIO_PIN_14|GPIO_PIN_15, GPIO_PIN_RESET);

  /*Configure GPIO pins : PD12 PD13 PD14 PD15 */
  GPIO_InitStruct.Pin = GPIO_PIN_12|GPIO_PIN_13|GPIO_PIN_14|GPIO_PIN_15;
  GPIO_InitStruct.Mode = GPIO_MODE_OUTPUT_PP;
  GPIO_InitStruct.Pull = GPIO_NOPULL;
  GPIO_InitStruct.Speed = GPIO_SPEED_FREQ_LOW;
  HAL_GPIO_Init(GPIOD, &GPIO_InitStruct);

  /*Configure GPIO pin : PC9 */
  GPIO_InitStruct.Pin = GPIO_PIN_9;
  GPIO_InitStruct.Mode = GPIO_MODE_IT_RISING;
  GPIO_InitStruct.Pull = GPIO_NOPULL;
  HAL_GPIO_Init(GPIOC, &GPIO_InitStruct);

  /* EXTI interrupt init*/
  HAL_NVIC_SetPriority(EXTI9_5_IRQn, 0, 0);
  HAL_NVIC_EnableIRQ(EXTI9_5_IRQn);

}

void Error_Handler(void)
{
}

/************************ (C) COPYRIGHT STMicroelectronics *****END OF FILE****/
